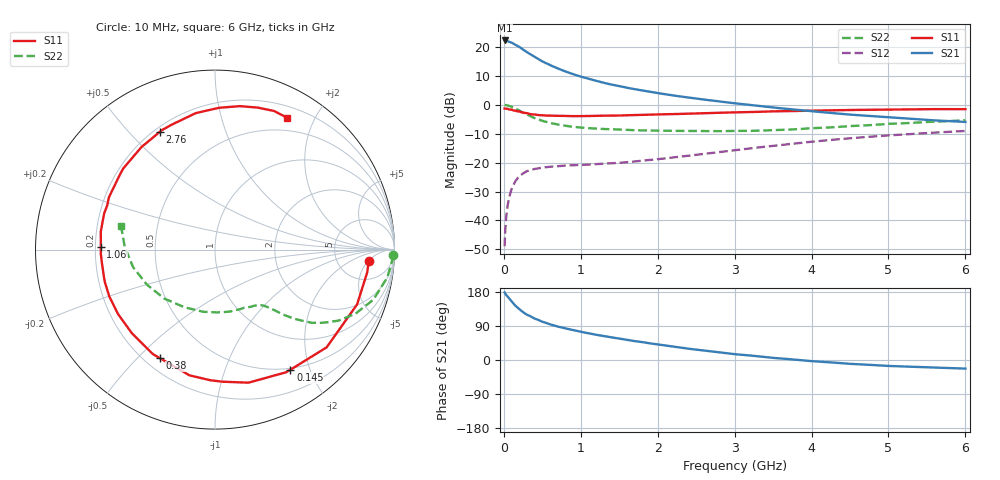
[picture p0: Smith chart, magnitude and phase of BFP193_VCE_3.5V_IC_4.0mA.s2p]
! Infineon Technologies  Discrete & RF Semiconductors
! BFP193
! VCE = 3.5 V,  IC =  4.0 mA
! Common Emitter S-Parameters:  Jan 2016
# GHz  S  MA  R  50
!  f  S11  S21  S12  S22
! GHz  MAG  ANG  MAG  ANG  MAG  ANG  MAG  ANG
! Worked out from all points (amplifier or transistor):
!   210 points, 10 MHz to 6 GHz, reference 50 ohm
!   highest |S21| = 22.2 dB at 10 MHz (marker M1)
!   |S21| within 3 dB of that: start of sweep to 241.5 MHz
!   unconditionally stable (mu >= 1): 1.355 GHz to 3.477 GHz
!   at 185 MHz: K = 0.18, MSG = 22.7 dB, |S12| = -25.2 dB
!   at 1.52 GHz: K = 1.07, MAG = 11.6 dB, |S12| = -20.0 dB
!   at 6 GHz: K = 0.93, MSG = 1.6 dB, |S12| = -9.1 dB
!   S11 on the Smith chart (normalised r, x): 10 MHz: 11, -5; 145 MHz: 0.48, -1.71; 380 MHz: 0.26, -0.59; 1.06 GHz: 0.22, +0.01; 2.76 GHz: 0.22, +0.61; 6 GHz: 0.33, +1.64
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0.01  0.8589 -4.4  12.87 178.3  0.0036 87.0  0.99 -1.9
0.02  0.8576 -8.5  12.6 174.4  0.0074 85.6  0.9884 -3.7
0.05  0.8485 -21.1  12.49 166.8  0.0184 78.3  0.9724 -9.2
0.1  0.8267 -41.2  11.87 154.9  0.0347 68.6  0.925 -17.6
0.145  0.7901 -57.9  10.95 144.5  0.0465 60.5  0.8665 -23.8
0.2  0.7645 -75.9  9.984 134.2  0.0581 53.3  0.794 -29.9
0.24  0.7369 -86.9  9.143 127.8  0.0637 48.1  0.7405 -33.2
0.3  0.7148 -101.5  8.085 119.6  0.071 43.1  0.6768 -37.1
0.38  0.6784 -116.7  6.964 111.8  0.0762 37.9  0.6045 -40.2
0.4  0.6772 -120.7  6.708 109.4  0.0776 36.7  0.5867 -41.1
0.5  0.657 -134.8  5.596 101.0  0.0819 32.7  0.5254 -43.6
0.6  0.6487 -146.5  4.82 94.2  0.0849 30.5  0.4843 -45.1
0.8  0.6399 -163.8  3.749 83.4  0.0889 27.9  0.4319 -47.7
1.02  0.6361 -178.9  3.007 73.7  0.091 28.6  0.4006 -50.6
1.06  0.6363 178.7  2.906 72.1  0.0917 28.7  0.3971 -51.3
1.4  0.6496 161.8  2.224 59.7  0.0969 31.1  0.3777 -57.3
2.02  0.6826 138.0  1.573 40.6  0.1152 37.8  0.3555 -71.2
2.76  0.7246 115.1  1.158 21.2  0.1494 41.3  0.349 -92.8
3.1  0.7408 106.7  1.024 13.7  0.1696 40.8  0.3523 -104.3
4.1  0.7932 86.7  0.751 -4.3  0.236 34.7  0.3968 -139.7
5.1  0.8281 71.9  0.594 -16.4  0.3006 23.7  0.4717 -170.8
6  0.8371 61.2  0.504 -22.7  0.352 12.6  0.5391 166.1
